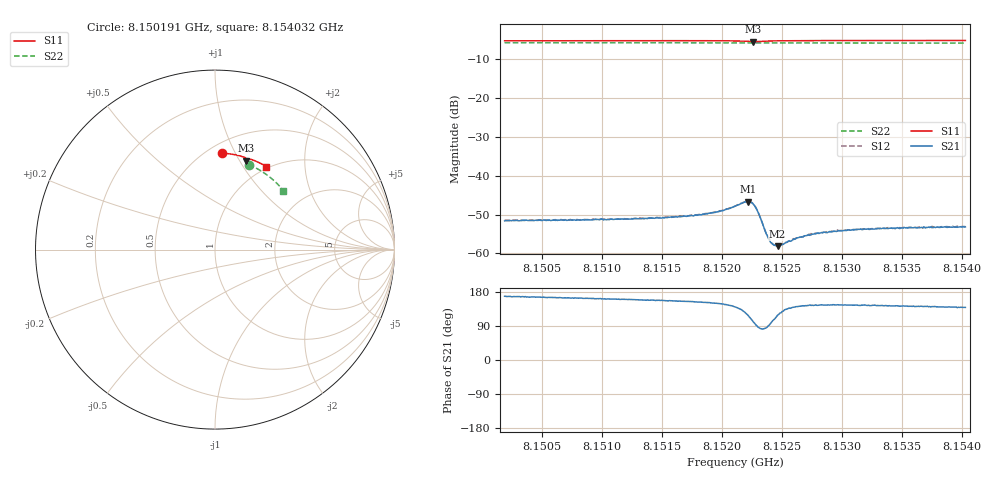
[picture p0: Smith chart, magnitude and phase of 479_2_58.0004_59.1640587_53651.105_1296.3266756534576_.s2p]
#  HZ  S  RI  R  50.00
! Rohde & Schwarz Vector Network Analyzer
! Rohde-Schwarz,ZNB20-2Port,1311601062101988,3.16
! Created: UTC 3/21/2024, 1:11:48 AM
! freq[Hz]  re:S11  im:S11  re:S21  im:S21  re:S12  im:S12  re:S22  im:S22
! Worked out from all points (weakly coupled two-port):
!   401 points, 8.150191 GHz to 8.154032 GHz, reference 50 ohm
!   highest |S21| = -46.66 dB at 8.152217 GHz (marker M1); lowest = -58.1 dB at 8.152467 GHz (marker M2)
!   lowest |S11| = -5.6 dB at 8.152265 GHz (marker M3), VSWR 3.22, Z = 38.9 + j53.4 ohm
!   |S11| at or under -10 dB: nowhere
!   |S22| runs from -6.0 to -5.9 dB; largest |S21 - S12| = 0.00011
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8.1501908e9  0.0367 0.5372  -0.00256 0.000535  -0.0026 0.000584  0.1878 0.4736
8.1508343e9  0.0814 0.5333  -0.00257 0.000774  -0.00257 0.000812  0.2253 0.456
8.1514777e9  0.1261 0.5255  -0.00265 0.00108  -0.00264 0.00114  0.261 0.4354
8.151833e9  0.1512 0.519  -0.00279 0.00144  -0.00281 0.0015  0.2798 0.4229
8.1519963e9  0.1635 0.5145  -0.003 0.00186  -0.00297 0.00191  0.2883 0.4169
8.1521115e9  0.1725 0.509  -0.0031 0.00259  -0.00308 0.00264  0.2943 0.4122
8.1522172e9  0.1769 0.4993  -0.00224 0.00407  -0.00221 0.00414  0.2993 0.408
8.1522364e9  0.176 0.4974  -0.00172 0.00426  -0.00168 0.00433  0.3002 0.4072
8.1522652e9  0.1733 0.4962  -0.000764 0.00421  -0.000756 0.00423  0.3014 0.4063
8.1522844e9  0.1715 0.4969  -0.000207 0.00387  -0.000182 0.00392  0.3023 0.4056
8.1523036e9  0.1705 0.4985  0.000184 0.00338  0.000223 0.00341  0.3032 0.4049
8.1523612e9  0.1726 0.5039  0.000223 0.00196  0.00027 0.00196  0.3061 0.4029
8.15239e9  0.1752 0.5054  -1.33e-05 0.00156  1.41e-05 0.00161  0.3076 0.4018
8.1524092e9  0.1771 0.5061  -0.000172 0.00137  -0.000158 0.00142  0.3087 0.401
8.1524284e9  0.1789 0.5065  -0.000327 0.00126  -0.000301 0.00128  0.3096 0.4003
8.1524669e9  0.1827 0.5065  -0.000589 0.00109  -0.000573 0.00114  0.3115 0.3988
8.1524861e9  0.1844 0.5064  -0.000701 0.00105  -0.000676 0.00109  0.3125 0.3981
8.1526397e9  0.1968 0.504  -0.00125 0.000993  -0.00125 0.00104  0.32 0.3919
8.152755e9  0.2052 0.5014  -0.00144 0.00102  -0.00141 0.00104  0.3255 0.387
8.1530719e9  0.2267 0.493  -0.00163 0.00115  -0.00161 0.00118  0.3404 0.3734
8.1533984e9  0.2477 0.4836  -0.00169 0.00126  -0.00168 0.00131  0.3548 0.3588
8.1540322e9  0.2865 0.4627  -0.00165 0.00144  -0.00163 0.00149  0.3813 0.3289
